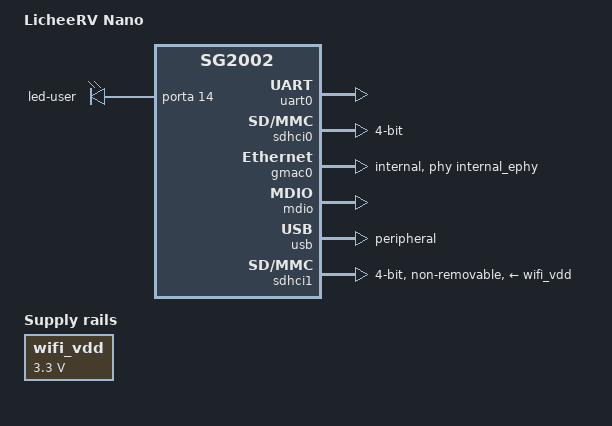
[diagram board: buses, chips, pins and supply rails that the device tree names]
// SPDX-License-Identifier: (GPL-2.0 OR MIT)
/*
 * Sipeed LicheeRV Nano (SG2002, 256 MiB): the console, the SD card, Ethernet on the
 * internal EPHY, the AIC8800 on SDIO, the user LED and the user key. From the vendor
 * board tree (sg2002_licheervnano_sd.dts, cvi_board_init.c) and the kernel's
 * sg2002-licheerv-nano-b.dts, on the SG2002 pin table. Both cores' top files include
 * it, after the SoC and <dt-bindings/gpio/gpio.h>.
 */

/ {
	model = "LicheeRV Nano";
	compatible = "sipeed,licheerv-nano", "sophgo,sg2002";

	aliases {
		serial0 = &uart0;
	};

	chosen {
		stdout-path = "serial0:115200n8";
	};

	/* The AIC8800 core VDD: the mmc core must see 3.3 V (see the badge's
	 * sg2000-module-01.dtsi); sdhci-cv181x takes the pads to 1.8 V itself. */
	wifi_vdd: regulator-wifi-vdd {
		compatible = "regulator-fixed";
		regulator-name = "aic8800-vdd";
		regulator-min-microvolt = <3300000>;
		regulator-max-microvolt = <3300000>;
		regulator-always-on;
		regulator-boot-on;
	};

	leds {
		compatible = "gpio-leds";
		pinctrl-0 = <&user_led_cfg>;
		pinctrl-names = "default";

		led-user {
			gpios = <&porta 14 GPIO_ACTIVE_HIGH>;
			linux,default-trigger = "activity";
		};
	};
};

&pinctrl {
	/* The user key is read by line name, not through gpio-keys. */
	pinctrl-0 = <&user_btn_cfg>;
	pinctrl-names = "default";

	uart0_cfg: uart0-cfg {
		uart0-pins {
			pinmux = <PINMUX(PIN_UART0_TX, 0)>,
				 <PINMUX(PIN_UART0_RX, 0)>;
			bias-pull-up;
			drive-strength-microamp = <10800>;
			power-source = <3300>;
		};
	};

	/* The AIC8800's Bluetooth UART: TX/RX on the IIC0 pads, CTS/RTS on GPIOA 18/19. */
	uart1_cfg: uart1-cfg {
		uart1-pins {
			pinmux = <PINMUX(PIN_IIC0_SCL, 1)>,
				 <PINMUX(PIN_IIC0_SDA, 1)>,
				 <PINMUX(PIN_JTAG_CPU_TCK, 4)>,
				 <PINMUX(PIN_JTAG_CPU_TMS, 4)>;
			bias-pull-up;
			power-source = <3300>;
		};
	};

	sdhci0_cfg: sdhci0-cfg {
		sdhci0-clk-pins {
			pinmux = <PINMUX(PIN_SD0_CLK, 0)>;
			bias-pull-up;
			drive-strength-microamp = <16100>;
			power-source = <3300>;
		};

		sdhci0-cmd-pins {
			pinmux = <PINMUX(PIN_SD0_CMD, 0)>;
			bias-pull-up;
			drive-strength-microamp = <10800>;
			power-source = <3300>;
		};

		sdhci0-data-pins {
			pinmux = <PINMUX(PIN_SD0_D0, 0)>,
				 <PINMUX(PIN_SD0_D1, 0)>,
				 <PINMUX(PIN_SD0_D2, 0)>,
				 <PINMUX(PIN_SD0_D3, 0)>;
			bias-pull-up;
			drive-strength-microamp = <10800>;
			power-source = <3300>;
		};

		sdhci0-cd-pins {
			pinmux = <PINMUX(PIN_SD0_CD, 0)>;
			bias-pull-up;
			drive-strength-microamp = <10800>;
			power-source = <3300>;
		};
	};

	/* The SD1 pads for the AIC8800, and its WL_REG_ON (GPIOA 26, EMMC_DAT2 pad). */
	sdhci1_cfg: sdhci1-cfg {
		sdhci1-clk-pins {
			pinmux = <PINMUX(PIN_SD1_CLK, 0)>;
			bias-pull-up;
			drive-strength-microamp = <16100>;
			power-source = <1800>;
		};

		sdhci1-cmd-pins {
			pinmux = <PINMUX(PIN_SD1_CMD, 0)>;
			bias-pull-up;
			drive-strength-microamp = <10800>;
			power-source = <1800>;
		};

		sdhci1-data-pins {
			pinmux = <PINMUX(PIN_SD1_D0, 0)>,
				 <PINMUX(PIN_SD1_D1, 0)>,
				 <PINMUX(PIN_SD1_D2, 0)>,
				 <PINMUX(PIN_SD1_D3, 0)>;
			bias-pull-up;
			drive-strength-microamp = <10800>;
			power-source = <1800>;
		};

		wifi-poweron-pins {
			pinmux = <PINMUX(PIN_EMMC_DAT2, 3)>;
			power-source = <3300>;
		};
	};

	/* GPIOA 14 on the SD0_PWR_EN pad. */
	user_led_cfg: user-led-cfg {
		user-led-pins {
			pinmux = <PINMUX(PIN_SD0_PWR_EN, 3)>;
			power-source = <3300>;
		};
	};

	/* GPIOA 30 on the AUX0 pad, active low. */
	user_btn_cfg: user-btn-cfg {
		user-btn-pins {
			pinmux = <PINMUX(PIN_AUX0, 3)>;
			bias-pull-up;
			power-source = <3300>;
		};
	};
};

&porta {
	gpio-line-names =
		"", "", "", "", "", "", "", "",
		"", "", "", "", "", "",
		"user-led",          /* 14 */
		"", "", "", "", "", "", "", "", "", "", "",
		"wifi-poweron",      /* 26 */
		"", "", "",
		"user-btn",          /* 30, active low */
		"";
};

&uart0 {
	pinctrl-0 = <&uart0_cfg>;
	pinctrl-names = "default";
	status = "okay";
};

/* Enabled with the Bluetooth bring-up. */
&uart1 {
	pinctrl-0 = <&uart1_cfg>;
	pinctrl-names = "default";
	status = "disabled";
};

&sdhci0 {
	pinctrl-0 = <&sdhci0_cfg>;
	pinctrl-names = "default";
	bus-width = <4>;
	no-1-8-v;
	no-mmc;
	no-sdio;
	disable-wp;
	status = "okay";
};

/* As on the badge: the internal EPHY, no external PHY. */
&gmac0 {
	phy-mode = "internal";
	phy-handle = <&internal_ephy>;
	status = "okay";
};

&mdio {
	status = "okay";
};

&usb {
	dr_mode = "peripheral";
	status = "okay";
};

/* The AIC8800 on the vendor SDIO host, set up as the badge's (sg2000-module-01.dtsi
 * explains each property), with this board's pads and WL_REG_ON. */
&sdhci1 {
	compatible = "cvitek,cv181x-sdio";
	clocks = <&clk CLK_SD1>, <&clk CLK_AXI4_SD1>;
	clock-names = "clk_wifisd", "axi";
	bus-width = <4>;
	non-removable;
	no-mmc;
	no-sd;
	cap-sdio-irq;
	keep-power-in-suspend;
	src-frequency = <375000000>;
	max-frequency = <187500000>;
	vmmc-supply = <&wifi_vdd>;
	pinctrl-0 = <&sdhci1_cfg>;
	pinctrl-names = "default";
	poweron-gpios = <&porta 26 GPIO_ACTIVE_HIGH>;
	status = "okay";
};
